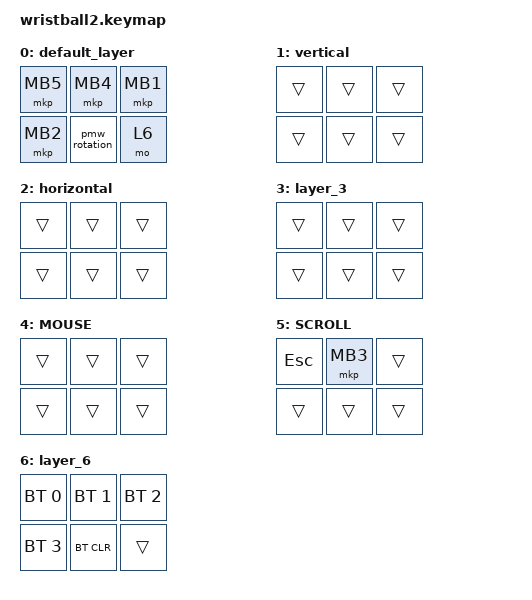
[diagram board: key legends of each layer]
#include <behaviors/rgbled_widget.dtsi>
#include <behaviors.dtsi>
#include <dt-bindings/zmk/bt.h>
#include <dt-bindings/zmk/keys.h>
#include <dt-bindings/zmk/pointing.h>

&mt {
    flavor = "balanced";
    quick-tap-ms = <0>;
};

&trackball {
    // automouse-layer = <1>;

    scroll-layers = <5>;

    // arrows {
    //     layers = <3>;
    //     bindings =
    //         <&kp RIGHT_ARROW>,
    //         <&kp LEFT_ARROW>,
    //         <&kp UP_ARROW>,
    //         <&kp DOWN_ARROW>;
    //     tick = <10>;
    //     wait-ms = <5>;
    //     tap-ms = <5>;
    // };
};

/ {
    behaviors {
        pmw_rotation: pmw_rotation {
            compatible = "zmk,behavior-pmw-rotation";
            #binding-cells = <0>;
        };
    };

    combos {
        compatible = "zmk,combos";

        scroll {
            bindings = <&lt 5 ENTER>;
            key-positions = <3 2>;
            slow-release;
        };

        middle_click {
            bindings = <&mkp MB3>;
            key-positions = <1 2>;
        };
    };

    macros {
        to_layer_0: to_layer_0 {
            compatible = "zmk,behavior-macro-one-param";
            #binding-cells = <1>;
            bindings = <&to 0 &macro_param_1to1 &kp MACRO_PLACEHOLDER>;
            label = "TO_LAYER_0";
        };
    };

    behaviors {
        lt_to_layer_0: lt_to_layer_0 {
            compatible = "zmk,behavior-hold-tap";
            label = "LAYER_TAP_TO_0";
            bindings = <&mo>, <&to_layer_0>;

            #binding-cells = <2>;
            tapping-term-ms = <200>;
        };
    };

    keymap {
        compatible = "zmk,keymap";

        default_layer {
            bindings = <
&mkp MB5  &mkp MB4       &mkp MB1
&mkp MB2  &pmw_rotation  &mo 6
            >;
        };

        vertical {
            bindings = <
&trans  &trans  &trans
&trans  &trans  &trans
            >;
        };

        horizontal {
            bindings = <
&trans  &trans  &trans
&trans  &trans  &trans
            >;
        };

        layer_3 {
            bindings = <
&trans  &trans  &trans
&trans  &trans  &trans
            >;
        };

        MOUSE {
            bindings = <
&trans  &trans  &trans
&trans  &trans  &trans
            >;
        };

        SCROLL {
            bindings = <
&kp ESCAPE  &mkp MB3  &trans
&trans      &trans    &trans
            >;
        };

        layer_6 {
            bindings = <
&bt BT_SEL 0  &bt BT_SEL 1  &bt BT_SEL 2
&bt BT_SEL 3  &bt BT_CLR    &trans
            >;
        };
    };
};
